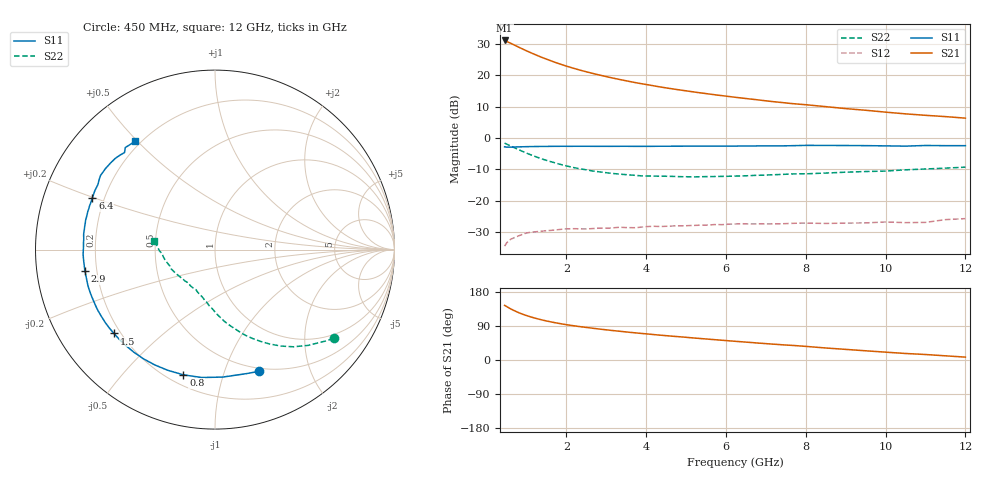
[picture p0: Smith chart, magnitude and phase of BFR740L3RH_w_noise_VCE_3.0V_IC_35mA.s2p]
! (c) 2012  Infineon Technologies AG, Munich
! Infineon Technologies  Discrete & RF Semiconductors
! BFR740L3RH
! VCE =  3.0 V,  IC =  35 mA
! Common Emitter S-Parameters:  May 2012
# GHz  S  MA  R  50
!  f  S11  S21  S12  S22
! GHz  MAG  ANG  MAG  ANG  MAG  ANG  MAG  ANG
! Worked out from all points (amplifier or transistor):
!   85 points, 450 MHz to 12 GHz, reference 50 ohm
!   highest |S21| = 31.1 dB at 450 MHz (marker M1)
!   |S21| within 3 dB of that: start of sweep to 947.4 MHz
!   unconditionally stable (mu >= 1): 5.376 GHz to end of sweep
!   at 1.8 GHz: K = 0.35, MSG = 26.5 dB, |S12| = -29.2 dB
!   at 4.6 GHz: K = 0.88, MSG = 21.9 dB, |S12| = -28.1 dB
!   at 12 GHz: K = 1.93, MAG = 10.5 dB, |S12| = -25.7 dB
!   lowest NFmin = 1.30 dB at 450 MHz
!   S11 on the Smith chart (normalised r, x): 450 MHz: 0.47, -1.32; 800 MHz: 0.26, -0.75; 1.5 GHz: 0.17, -0.35; 2.9 GHz: 0.15, -0.08; 6.4 GHz: 0.15, +0.20; 12 GHz: 0.18, +0.49
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0.45  0.7212 -70.2  35.75 144.2  0.0188 52.5  0.8259 -36.8
0.6  0.7116 -86.5  32.28 135.0  0.0242 50.6  0.7444 -45.8
0.7  0.7166 -96.0  30.09 129.8  0.0258 46.3  0.6958 -51.1
0.8  0.7195 -104.2  28.02 125.1  0.0274 42.4  0.6504 -55.7
0.9  0.7223 -111.4  26.13 120.9  0.0291 39.7  0.609 -59.8
1  0.7248 -117.7  24.42 117.2  0.0305 37.4  0.5722 -63.5
1.1  0.7273 -123.3  22.88 113.9  0.0313 35.2  0.5395 -66.9
1.3  0.7299 -132.8  20.19 108.0  0.0322 32.3  0.4832 -72.9
1.5  0.7317 -140.3  18 103.0  0.0332 29.3  0.4379 -78.0
1.7  0.7342 -146.7  16.15 98.7  0.034 27.3  0.4024 -82.6
1.9  0.7352 -152.2  14.61 94.9  0.0351 25.7  0.3705 -86.7
2.1  0.7342 -156.8  13.32 91.6  0.0356 26.1  0.3459 -90.2
2.4  0.7357 -162.6  11.75 87.2  0.0354 24.1  0.3173 -95.3
2.9  0.7344 -170.6  9.804 80.8  0.0365 23.9  0.2841 -102.3
3.6  0.734 -179.4  7.888 72.9  0.0371 22.8  0.2565 -112.0
4.3  0.7363 173.8  6.573 66.0  0.0388 24.0  0.2455 -119.6
5.2  0.7386 165.8  5.394 58.0  0.0403 24.1  0.2392 -130.1
6.3  0.7412 157.9  4.39 48.8  0.0426 24.9  0.2469 -141.9
6.4  0.7419 157.1  4.316 48.0  0.0429 24.1  0.2479 -143.0
8.5  0.7589 143.3  3.15 31.7  0.0433 24.4  0.2753 -164.1
10.5  0.7392 133.0  2.416 17.2  0.0446 30.9  0.3098 -178.7
12  0.7514 126.6  2.065 7.6  0.0517 38.1  0.3418 172.1
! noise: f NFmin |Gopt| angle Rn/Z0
0.45  1.3  0.15  179  0.12
0.9  1.31  0.15  177  0.12
1.5  1.33  0.16  175  0.11
1.9  1.34  0.17  174  0.11
2.4  1.37  0.18  175  0.11
3.5  1.44  0.19  176  0.11
5.5  1.61  0.25  180  0.1
8  1.88  0.31  -164  0.12
10  2.1  0.33  -150  0.16
12  2.33  0.41  -128  0.26
